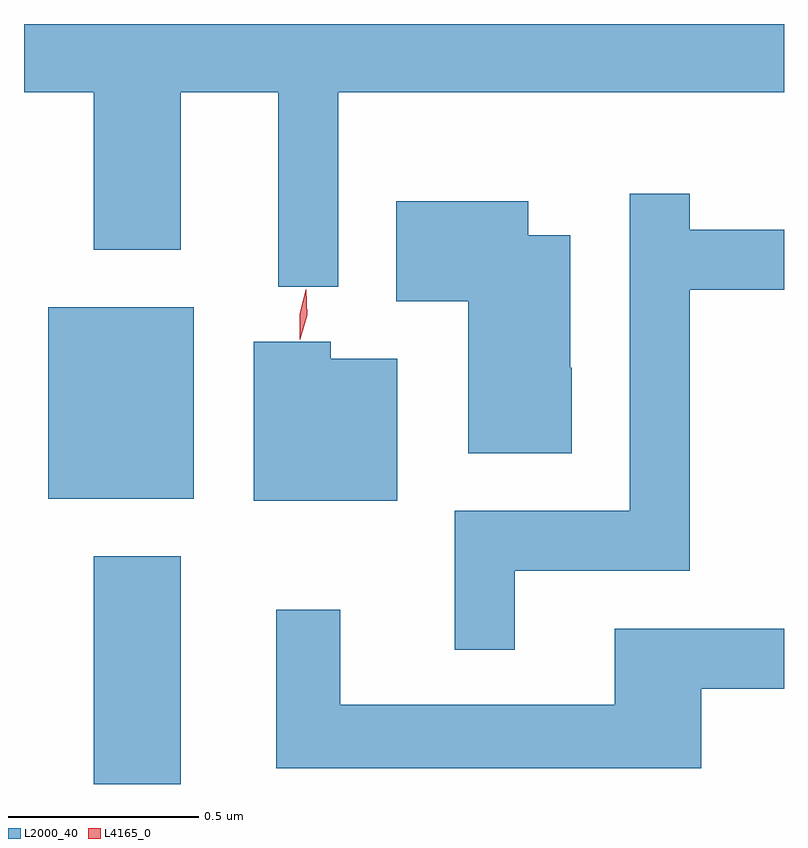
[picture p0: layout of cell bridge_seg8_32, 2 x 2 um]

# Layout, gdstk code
import gdstk
lib = gdstk.Library(unit=1e-6, precision=1e-09)
def R(c, l, rs):  # rectangles x0, y0, x1, y1
    for r in rs: c.add(gdstk.rectangle(r[:2], r[2:], *l))
def P(c, l, *ps):  # polygons
    for p in ps: c.add(gdstk.Polygon(p, *l))
L2000_40 = (2000, 40)
L4165_0 = (4165, 0)

bridge_seg8_32 = lib.new_cell('bridge_seg8_32')
R(bridge_seg8_32, L2000_40, [(1795.511,1878.995,1795.739,1879.594), (1795.391,1879.746,1795.774,1880.249)])
P(bridge_seg8_32, L2000_40, [(1796.154,1880.816),(1797.327,1880.816),(1797.327,1880.995),(1795.327,1880.995),(1795.327,1880.816),(1795.511,1880.816),(1795.511,1880.401),(1795.739,1880.401),(1795.739,1880.816),(1795.996,1880.816),(1795.996,1880.303),(1796.154,1880.303)],
  [(1796.619,1879.556),(1797.079,1879.556),(1797.079,1880.296),(1797.327,1880.296),(1797.327,1880.454),(1797.079,1880.454),(1797.079,1880.548),(1796.921,1880.548),(1796.921,1879.714),(1796.461,1879.714),(1796.461,1879.348),(1796.619,1879.348)],
  [(1796.769,1880.09),(1796.764,1880.09),(1796.764,1880.439),(1796.654,1880.439),(1796.654,1880.529),(1796.306,1880.529),(1796.306,1880.266),(1796.496,1880.266),(1796.496,1879.866),(1796.769,1879.866)],
  [(1796.309,1880.114),(1796.134,1880.114),(1796.134,1880.159),(1795.931,1880.159),(1795.931,1879.741),(1796.309,1879.741)],
  [(1797.109,1879.246),(1797.327,1879.246),(1797.327,1879.404),(1796.881,1879.404),(1796.881,1879.204),(1796.159,1879.204),(1796.159,1879.453),(1795.991,1879.453),(1795.991,1879.036),(1797.109,1879.036)])
P(bridge_seg8_32, L4165_0, [(1796.054,1880.164),(1796.053,1880.165),(1796.052,1880.232),(1796.069,1880.296),(1796.07,1880.297),(1796.07,1880.296),(1796.072,1880.229),(1796.054,1880.165)])

lib.write_gds('bridge_seg8_32.gds')
